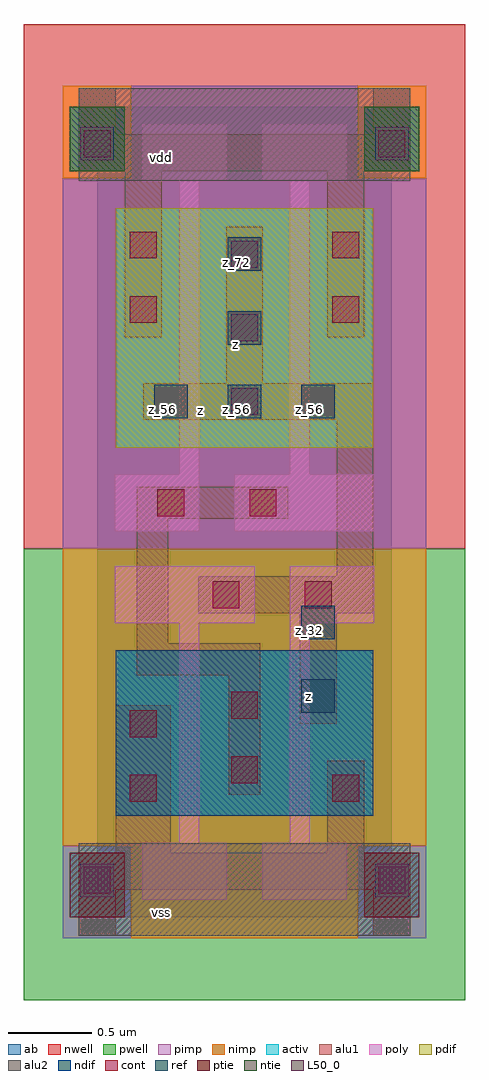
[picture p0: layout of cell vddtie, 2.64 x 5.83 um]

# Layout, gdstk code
import gdstk
lib = gdstk.Library(unit=1e-6, precision=2.5e-09)
def R(c, l, rs):  # rectangles x0, y0, x1, y1
    for r in rs: c.add(gdstk.rectangle(r[:2], r[2:], *l))
def A(c, l, x, y, w, h, nx, ny, dx, dy):  # array of equal rectangles
    R(c, l, [(x+i*dx, y+j*dy, x+i*dx+w, y+j*dy+h) for i in range(nx) for j in range(ny)])
ndif = (3, 0)
pdif = (4, 0)
ntie = (5, 0)
ptie = (6, 0)
ref = (24, 0)
cont = (25, 0)
pwell = (41, 0)
nwell = (42, 0)
activ = (43, 0)
pimp = (44, 0)
nimp = (45, 0)
poly = (46, 0)
alu1 = (49, 0)
L50_0 = (50, 0)
alu2 = (51, 0)
ab = (63, 0)

vddtie = lib.new_cell('vddtie')
R(vddtie, ndif, [(0.11,0.605,1.65,1.595)])
R(vddtie, pdif, [(0.11,2.805,1.65,4.235)])
R(vddtie, ntie, [(-0.165,4.455,0.165,4.84), (1.595,4.455,1.925,4.84)])
R(vddtie, ptie, [(-0.165,0,0.165,0.385), (1.595,0,1.925,0.385)])
A(vddtie, ref, 0.34, 2.98, 0.2, 0.2, 3, 1, 0.44, 0)
R(vddtie, ref, [(1.22,1.22,1.42,1.42), (1.22,1.66,1.42,1.86), (0.78,3.42,0.98,3.62), (0.78,3.86,0.98,4.06)])
A(vddtie, cont, 0.8, 3, 0.16, 0.16, 1, 3, 0, 0.44)
R(vddtie, cont, [(-0.08,0.14,0.08,0.3), (1.68,0.14,1.84,0.3), (0.195,0.69,0.355,0.85), (1.405,0.69,1.565,0.85), (0.8,0.8,0.96,0.96), (0.195,1.075,0.355,1.235), (0.8,1.185,0.96,1.345), (0.69,1.845,0.85,2.005), (1.24,1.845,1.4,2.005), (0.36,2.395,0.52,2.555), (0.91,2.395,1.07,2.555), (0.195,3.55,0.355,3.71), (1.405,3.55,1.565,3.71), (0.195,3.935,0.355,4.095), (1.405,3.935,1.565,4.095), (-0.08,4.54,0.08,4.7), (1.68,4.54,1.84,4.7)])
R(vddtie, pwell, [(-0.44,-0.495,2.2,2.2)])
R(vddtie, nwell, [(-0.44,2.2,2.2,5.335)])
R(vddtie, activ, [(-0.165,0,0.165,0.385), (1.595,0,1.925,0.385), (0.11,0.605,1.65,1.595), (0.11,2.805,1.65,4.235), (-0.165,4.455,0.165,4.84), (1.595,4.455,1.925,4.84)])
R(vddtie, pimp, [(-0.205,-0.125,0.205,0.425), (1.555,-0.125,1.965,0.425), (-0.205,2.2,1.965,4.415), (0.205,4.415,1.555,4.965)])
R(vddtie, nimp, [(0.205,-0.125,1.555,0.425), (-0.205,0.425,1.965,2.2), (-0.205,4.415,0.205,4.965), (1.555,4.415,1.965,4.965)])
R(vddtie, poly, [(0.27,0.105,0.775,0.445), (0.985,0.105,1.49,0.445), (0.49,0.445,0.61,1.755), (1.15,0.445,1.27,1.755), (0.105,1.755,0.94,2.095), (1.15,1.755,1.655,2.095), (0.105,2.305,0.61,2.645), (0.82,2.305,1.655,2.645), (0.49,2.645,0.61,4.395), (1.15,2.645,1.27,4.395), (0.27,4.395,0.775,4.735), (0.985,4.395,1.49,4.735)])
R(vddtie, alu1, [(-0.11,-0.11,0.11,0.165), (1.65,-0.11,1.87,0.165), (-0.11,0.165,1.87,0.385), (0.11,0.385,0.44,1.265), (1.375,0.385,1.595,0.935), (0.785,0.73,0.975,1.445), (1.21,1.155,1.43,1.815), (0.235,1.445,0.975,1.635), (0.235,1.635,0.425,2.38), (0.605,1.815,1.65,2.035), (1.43,2.035,1.65,2.97), (0.235,2.38,1.14,2.57), (0.275,2.97,1.65,3.19), (0.77,3.19,0.99,4.125), (0.165,3.465,0.385,4.455), (1.375,3.465,1.595,4.455), (-0.11,4.455,1.87,4.675), (-0.11,4.675,0.11,4.95), (1.65,4.675,1.87,4.95)])
R(vddtie, L50_0, [(-0.1,0.12,0.1,0.32), (1.66,0.12,1.86,0.32), (-0.1,4.52,0.1,4.72), (1.66,4.52,1.86,4.72)])
R(vddtie, alu2, [(-0.11,-0.11,1.87,0.44), (-0.11,4.4,1.87,4.95)])
R(vddtie, ab, [(0,0,1.76,4.84)])
vddtie.add(gdstk.Label('z', (1.265,1.32), layer=49, texttype=0))
vddtie.add(gdstk.Label('z', (0.6175,3.025), layer=49, texttype=0))
vddtie.add(gdstk.Label('z', (0.825,3.4225), layer=49, texttype=0))
vddtie.add(gdstk.Label('vss', (0.385,0.0275), layer=51, texttype=0))
vddtie.add(gdstk.Label('vdd', (0.385,4.5375), layer=51, texttype=0))
vddtie.add(gdstk.Label('z_24', (1.27,1.27), layer=24, texttype=0))
vddtie.add(gdstk.Label('z_32', (1.27,1.71), layer=24, texttype=0))
vddtie.add(gdstk.Label('z_72', (0.83,3.91), layer=24, texttype=0))
vddtie.add(gdstk.Label('z_64', (0.83,3.47), layer=24, texttype=0))
vddtie.add(gdstk.Label('z_56', (1.27,3.03), layer=24, texttype=0))
vddtie.add(gdstk.Label('z_56', (0.83,3.03), layer=24, texttype=0))
vddtie.add(gdstk.Label('z_56', (0.39,3.03), layer=24, texttype=0))

lib.write_gds('vddtie.gds')
